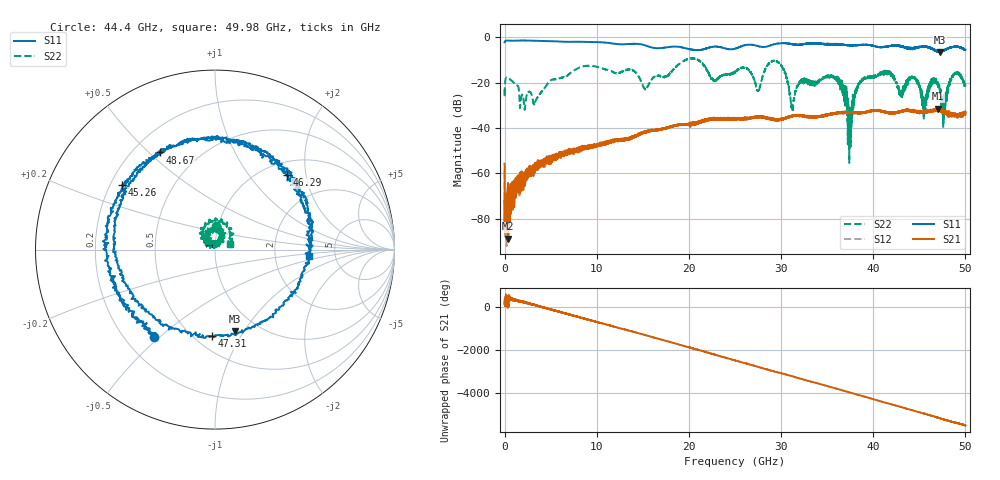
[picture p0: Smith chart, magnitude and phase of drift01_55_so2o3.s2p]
!Created with skrf (http://scikit-rf.org).
# Hz S RI R 50.0
!freq ReS11 ImS11 ReS21 ImS21 ReS12 ImS12 ReS22 ImS22
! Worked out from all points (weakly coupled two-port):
!   10001 points, 300 kHz to 50 GHz, reference 50 ohm
!   highest |S21| = -31.44 dB at 47 GHz (marker M1); lowest = -88.7 dB at 400.3 MHz (marker M2)
!   lowest |S11| = -6.6 dB at 47.2 GHz (marker M3), VSWR 2.76, Z = 39.3 - j45.7 ohm
!   |S11| at or under -10 dB: nowhere
!   |S22| runs from -55.4 to -9.2 dB; largest |S21 - S12| = 0.0041
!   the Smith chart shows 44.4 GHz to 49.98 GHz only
!   S11 on the Smith chart (normalised r, x): 44.4 GHz: 0.32, -0.48; 45.26 GHz: 0.25, +0.30; 46.29 GHz: 1.25, +1.56; 47.31 GHz: 0.60, -0.76; 48.67 GHz: 0.30, +0.54; 49.98 GHz: 3.17, -0.30
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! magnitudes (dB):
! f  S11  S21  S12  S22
! 300 kHz  -2.1  -55.7  -59.2  -22.8
! 400.3 MHz  -1.4  -88.7  -75.3  -18.0
! 3.29 GHz  -1.5  -56.3  -56.7  -28.9
! 8.335 GHz  -1.9  -49.0  -49.5  -12.9
! 16.67 GHz  -4.8  -40.5  -40.8  -16.7
! 25 GHz  -5.0  -36.3  -35.7  -15.4
! 29.58 GHz  -2.8  -36.2  -36.2  -10.7
! 31.24 GHz  -2.9  -34.5  -34.5  -31.7
! 33.34 GHz  -2.6  -35.2  -35.0  -19.7
! 36.08 GHz  -3.1  -33.1  -33.2  -18.7
! 37.47 GHz  -3.6  -33.4  -33.1  -33.1
! 38.65 GHz  -3.3  -33.0  -33.1  -19.8
! 41.67 GHz  -3.9  -33.1  -33.2  -15.7
! 44.4 GHz  -4.5  -32.3  -32.5  -17.6
! 45.26 GHz  -4.0  -32.6  -33.1  -25.9
! 46.29 GHz  -4.8  -32.5  -32.1  -21.7
! 47 GHz  -6.3  -31.4  -31.9  -19.9
! 47.2 GHz  -6.6  -31.8  -32.1  -22.4
! 47.31 GHz  -6.3  -32.1  -32.1  -22.9
! 48.67 GHz  -4.1  -33.7  -34.4  -16.5
! 49.98 GHz  -5.6  -32.8  -33.6  -21.1
! 50 GHz  -5.5  -34.0  -33.7  -21.3
